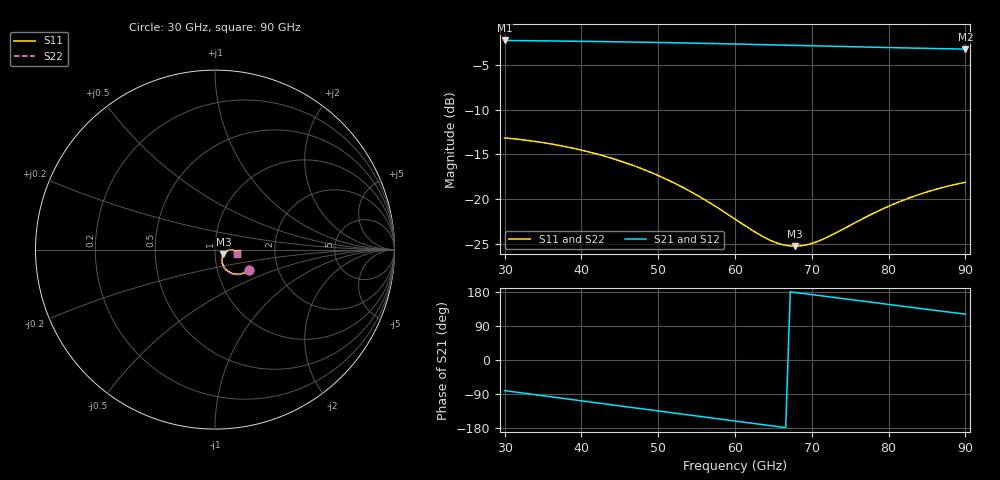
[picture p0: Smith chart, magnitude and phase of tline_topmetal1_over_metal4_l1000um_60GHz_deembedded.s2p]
! Created with skrf 2.2.0 (http://scikit-rf.org).
# GHz S DB R 50.0
! Port[1] = P1
! Port[2] = P2
!freq dBS11 angS11 dBS21 angS21 dBS12 angS12 dBS22 angS22
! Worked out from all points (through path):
!   101 points, 30 GHz to 90 GHz, reference 50 ohm
!   highest |S21| = -2.25 dB at 30 GHz (marker M1); lowest = -3.2 dB at 90 GHz (marker M2)
!   group delay of S21, straight-line fit = 7.33 ps
!   lowest |S11| = -25.3 dB at 67.8 GHz (marker M3), VSWR 1.11, Z = 54.9 - j2.98 ohm
!   |S11| at or under -10 dB: start of sweep to end of sweep
!   |S22| runs from -25.4 to -13.1 dB; largest |S21 - S12| = 8.9e-14
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30  -13.17 -31.1  -2.25 -80.9  -2.25 -80.9  -13.13 -31.4
32.4  -13.39 -34.8  -2.27 -87.3  -2.27 -87.3  -13.35 -35.2
34.8  -13.67 -38.6  -2.29 -93.7  -2.29 -93.7  -13.63 -39.0
37.2  -14.02 -42.4  -2.31 -100.2  -2.31 -100.2  -13.98 -42.8
40.2  -14.57 -47.0  -2.35 -108.2  -2.35 -108.2  -14.52 -47.5
45  -15.74 -53.9  -2.40 -121.1  -2.40 -121.1  -15.67 -54.6
47.4  -16.47 -56.9  -2.44 -127.5  -2.44 -127.5  -16.40 -57.7
50.4  -17.54 -60.1  -2.48 -135.5  -2.48 -135.5  -17.46 -61.0
55.2  -19.66 -62.6  -2.56 -148.3  -2.56 -148.3  -19.58 -63.9
57.6  -20.91 -61.9  -2.60 -154.7  -2.60 -154.7  -20.84 -63.4
60  -22.26 -59.2  -2.64 -161.1  -2.64 -161.1  -22.21 -60.9
63  -23.91 -51.7  -2.70 -169.0  -2.70 -169.0  -23.91 -53.7
64.8  -24.72 -44.7  -2.74 -173.7  -2.74 -173.7  -24.76 -46.7
66.6  -25.20 -36.1  -2.77 -178.5  -2.77 -178.5  -25.29 -38.1
67.8  -25.30 -29.9  -2.80 178.4  -2.80 178.4  -25.42 -31.8
69  -25.20 -23.9  -2.82 175.2  -2.82 175.2  -25.34 -25.6
70.2  -24.93 -18.4  -2.85 172.1  -2.85 172.1  -25.08 -19.9
72  -24.30 -11.6  -2.88 167.4  -2.88 167.4  -24.44 -12.8
75  -22.96 -4.4  -2.94 159.6  -2.94 159.6  -23.07 -5.3
80.4  -20.68 -1.1  -3.05 145.6  -3.05 145.6  -20.72 -2.0
85.2  -19.17 -3.9  -3.14 133.2  -3.14 133.2  -19.17 -4.8
90  -18.14 -9.1  -3.22 120.9  -3.22 120.9  -18.11 -10.2
